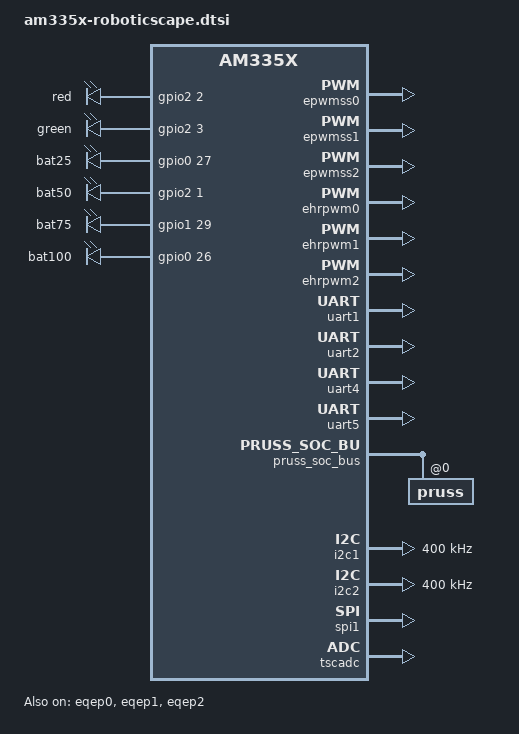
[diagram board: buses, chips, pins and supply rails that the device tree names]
/*
 * @file am335x-roboticscape.dtsi
 *
 * used by:
 * am335x-boneblack-roboticscape.dts
 * am335x-boneblack-wireless-roboticscape.dts
 *
 *
 * @file am335x-boneblack-roboticscape.dtb
 *
 * based on am335x-boneblack.dtb
 *
 * This device tree serves to replace the need for an overlay when using the
 * RoboticsCape. It is similar to the boneblue tree but preserves pin config for
 * the black.
 *
 * This file was updated in April 2018 to support LED driver like in BB Blue
 * This goes in sync with V0.4.0 of the Robotics Cape library
 *
 * @author     James Strawson
 * @date       April 19, 2018
 */



/*******************************************************************************
* Pin Muxing
*******************************************************************************/
&am33xx_pinmux {

/*******************************************************************************
* Static Pinmux
*******************************************************************************/
	mux_helper_pins: pins {
		pinctrl-single,pins = <

			/* GPIO Input Pullup */
			0x09c 0x37	/*P8.9  T6  PAUSE_BTN */
			0x098 0x37	/*P8.10 U6  MODE_BTN  */
			0x1AC 0x37	/*P9.25 A14 IMU_INT   */

			/* Motor Control GPIO Out*/
			0x0cc 0x0F	/*P8.34 MDIR_2B different from blue!!*/
			0x0a8 0x0F	/*P8.43 MDIR_3B*/
			0x0ac 0x0F	/*P8.44 MDIR_3A*/
			0x0a0 0x0F	/*P8.45 MDIR_4A*/
			0x0a4 0x0F	/*P8.46 MDIR_4B*/
			0x078 0x0F	/*P9.12 MDIR_1A different from blue!!*/
			0x074 0x0F	/*P9.13 MDIR_1B*/
			0x040 0x0F	/*P9.15 MDIR_2A*/
			0x1b4 0x0F	/*P9.41 MOT_STBY*/

			/* PRU encoder input */
			0x03c 0x36	/* P8_15,PRU0_r31_15,MODE6 */
			0x038 0x36	/* P8_16,PRU0_r31_16,MODE6 */

			/* PRU Servo output */
			0x0e0 0x05	/*pru1_pru_r30_8, MODE5*/
			0x0e8 0x05	/*pru1_pru_r30_10, MODE5 */
			0x0e4 0x05	/*pr1_pru1_pru_r30_9, MODE5 */
			0x0ec 0x05	/*pru1_pru_r30_11, MODE5 */
			0x0b8 0x05	/*pru1_pru_r30_6, MODE5 */
			0x0bc 0x05	/*pru1_pru_r30_7, MODE5 */
			0x0b0 0x05	/*pru1_pru_r30_4, MODE5 */
			0x0b4 0x05	/*pru1_pru_r30_5, MODE5 */
			0x0C8 0x0F	/*P8.36, SERVO_PWR GPIO OUT*/

			/* I2C1 */
			0x15C 0x32	/* P9.17,i2c1_scl,INPUT_PULLUP,MODE2 */
			0x158 0x32	/* P9.18,i2c1_sda,INPUT_PULLUP,MODE2 */

			/* I2C2 */
			0x17c  0x73 /* P9.19, i2c2_sda, mode 3 */
			0x178  0x73 /* P9.20, i2c2_sda, mode 3 */

			/* UART5 */
			0x0C4 0x34	/* P8.38,uart5_rxd,MODE4 */
			0x0C0 0x14	/* P8.37,uart5_txd,MODE4 */

		>;
	};


	led_pins: pinmux_led_pins {
		pinctrl-single,pins = <
			0x090 (PIN_OUTPUT | MUX_MODE7) /* (R7) gpmc_advn_ale.gpio2[2] - P8.7, LED_RED, GP1_PIN_5 */
			0x094 (PIN_OUTPUT | MUX_MODE7) /* (T7) gpmc_oen_ren.gpio2[3] - P8.8, LED_GREEN, GP1_PIN_6 */
			0x02C (PIN_OUTPUT | MUX_MODE7) /* (U12) gpmc_ad11.gpio0[27] - P8.17, BATT_LED_1 */
			0x08c (PIN_OUTPUT | MUX_MODE7) /* (V12) gpio2.1 - P8.18  BATT_LED_2 diff from BLUE! */
			0x07C (PIN_OUTPUT | MUX_MODE7) /* (V6) gpmc_csn0.gpio1[29] - P8.26, BATT_LED_3 */
			0x028 (PIN_OUTPUT | MUX_MODE7) /* (T11) gpmc_ad10.gpio0[26] - P8.14, BATT_LED_4 */
		>;
	};

};


/*******************************************************************************
* apply static and dynamic pinmux modes listed above. Configurable pins get the
* modes from am335x-boneblack-common-universal-pins.dtsi
*******************************************************************************/
&ocp {
	/* activate the static pinmux helper list of pin modes above */
	test_helper: helper {
		compatible = "bone-pinmux-helper";
		pinctrl-names = "default";
		pinctrl-0 = <&mux_helper_pins>;

		status = "okay";
	};

	/* UART4 RX DSM */
	P9_11_pinmux {
		compatible = "bone-pinmux-helper";
		status = "okay";
		pinctrl-names = "default", "gpio", "gpio_pu", "gpio_pd", "uart";
		pinctrl-0 = <&P9_11_default_pin>;
		pinctrl-1 = <&P9_11_gpio_pin>;
		pinctrl-2 = <&P9_11_gpio_pu_pin>;
		pinctrl-3 = <&P9_11_gpio_pd_pin>;
		pinctrl-4 = <&P9_11_uart_pin>;
	};

	/* UART 2 TX GPS*/
	P9_21_pinmux {
		compatible = "bone-pinmux-helper";
		status = "okay";
		pinctrl-names = "default", "gpio", "gpio_pu", "gpio_pd", "spi", "uart", "i2c", "pwm";
		pinctrl-0 = <&P9_21_default_pin>;
		pinctrl-1 = <&P9_21_gpio_pin>;
		pinctrl-2 = <&P9_21_gpio_pu_pin>;
		pinctrl-3 = <&P9_21_gpio_pd_pin>;
		pinctrl-4 = <&P9_21_spi_pin>;
		pinctrl-5 = <&P9_21_uart_pin>;
		pinctrl-6 = <&P9_21_i2c_pin>;
		pinctrl-7 = <&P9_21_pwm_pin>;
	};

	/* UART 2 RX GPS */
	P9_22_pinmux {
		compatible = "bone-pinmux-helper";
		status = "okay";
		pinctrl-names = "default", "gpio", "gpio_pu", "gpio_pd", "spi", "uart", "i2c", "pwm";
		pinctrl-0 = <&P9_22_default_pin>;
		pinctrl-1 = <&P9_22_gpio_pin>;
		pinctrl-2 = <&P9_22_gpio_pu_pin>;
		pinctrl-3 = <&P9_22_gpio_pd_pin>;
		pinctrl-4 = <&P9_22_spi_pin>;
		pinctrl-5 = <&P9_22_uart_pin>;
		pinctrl-6 = <&P9_22_i2c_pin>;
		pinctrl-7 = <&P9_22_pwm_pin>;
	};

	/* SPI MISO */
	P9_29_pinmux {
		compatible = "bone-pinmux-helper";
		status = "okay";
		pinctrl-names = "default", "gpio", "gpio_pu", "gpio_pd", "pwm", "spi", "pruout", "pruin";
		pinctrl-0 = <&P9_29_default_pin>;
		pinctrl-1 = <&P9_29_gpio_pin>;
		pinctrl-2 = <&P9_29_gpio_pu_pin>;
		pinctrl-3 = <&P9_29_gpio_pd_pin>;
		pinctrl-4 = <&P9_29_pwm_pin>;
		pinctrl-5 = <&P9_29_spi_pin>;
		pinctrl-6 = <&P9_29_pruout_pin>;
		pinctrl-7 = <&P9_29_pruin_pin>;
	};

	/* SPI MOSI */
	P9_30_pinmux {
		compatible = "bone-pinmux-helper";
		status = "okay";
		pinctrl-names = "default", "gpio", "gpio_pu", "gpio_pd", "pwm", "spi", "pruout", "pruin";
		pinctrl-0 = <&P9_30_default_pin>;
		pinctrl-1 = <&P9_30_gpio_pin>;
		pinctrl-2 = <&P9_30_gpio_pu_pin>;
		pinctrl-3 = <&P9_30_gpio_pd_pin>;
		pinctrl-4 = <&P9_30_pwm_pin>;
		pinctrl-5 = <&P9_30_spi_pin>;
		pinctrl-6 = <&P9_30_pruout_pin>;
		pinctrl-7 = <&P9_30_pruin_pin>;
	};

	/* SPI SCK */
	P9_31_pinmux {
		compatible = "bone-pinmux-helper";
		status = "okay";
		pinctrl-names = "default", "gpio", "gpio_pu", "gpio_pd", "pwm", "spi", "pruout", "pruin";
		pinctrl-0 = <&P9_31_default_pin>;
		pinctrl-1 = <&P9_31_gpio_pin>;
		pinctrl-2 = <&P9_31_gpio_pu_pin>;
		pinctrl-3 = <&P9_31_gpio_pd_pin>;
		pinctrl-4 = <&P9_31_pwm_pin>;
		pinctrl-5 = <&P9_31_spi_pin>;
		pinctrl-6 = <&P9_31_pruout_pin>;
		pinctrl-7 = <&P9_31_pruin_pin>;
	};

	/* SPI SS1 GPIO3_17*/
	P9_28_pinmux {
		compatible = "bone-pinmux-helper";
		status = "okay";
		pinctrl-names = "default", "gpio", "gpio_pu", "gpio_pd", "pwm", "spi", "pwm2", "pruout", "pruin";
		pinctrl-0 = <&P9_28_default_pin>;
		pinctrl-1 = <&P9_28_gpio_pin>;
		pinctrl-2 = <&P9_28_gpio_pu_pin>;
		pinctrl-3 = <&P9_28_gpio_pd_pin>;
		pinctrl-4 = <&P9_28_pwm_pin>;
		pinctrl-5 = <&P9_28_spi_pin>;
		pinctrl-6 = <&P9_28_pwm2_pin>;
		pinctrl-7 = <&P9_28_pruout_pin>;
		pinctrl-8 = <&P9_28_pruin_pin>;
	};

	/* SPI SS1  GPIO1_17*/
	P9_23_pinmux {
		compatible = "bone-pinmux-helper";
		status = "okay";
		pinctrl-names = "default", "gpio", "gpio_pu", "gpio_pd", "pwm";
		pinctrl-0 = <&P9_23_default_pin>;
		pinctrl-1 = <&P9_23_gpio_pin>;
		pinctrl-2 = <&P9_23_gpio_pu_pin>;
		pinctrl-3 = <&P9_23_gpio_pd_pin>;
		pinctrl-4 = <&P9_23_pwm_pin>;
	};

	/* UART 1 TX */
	 P9_24_pinmux {
		compatible = "bone-pinmux-helper";
		status = "okay";
		pinctrl-names = "default", "gpio", "gpio_pu", "gpio_pd", "uart", "can", "i2c",  "pruin";
		pinctrl-0 = <&P9_24_default_pin>;
		pinctrl-1 = <&P9_24_gpio_pin>;
		pinctrl-2 = <&P9_24_gpio_pu_pin>;
		pinctrl-3 = <&P9_24_gpio_pd_pin>;
		pinctrl-4 = <&P9_24_uart_pin>;
		pinctrl-5 = <&P9_24_can_pin>;
		pinctrl-6 = <&P9_24_i2c_pin>;
		pinctrl-7 = <&P9_24_pruin_pin>;
	};

	/* UART 1 RX */
	P9_26_pinmux {
		compatible = "bone-pinmux-helper";
		status = "okay";
		pinctrl-names = "default", "gpio", "gpio_pu", "gpio_pd", "uart", "can", "i2c",  "pruin";
		pinctrl-0 = <&P9_26_default_pin>;
		pinctrl-1 = <&P9_26_gpio_pin>;
		pinctrl-2 = <&P9_26_gpio_pu_pin>;
		pinctrl-3 = <&P9_26_gpio_pd_pin>;
		pinctrl-4 = <&P9_26_uart_pin>;
		pinctrl-5 = <&P9_26_can_pin>;
		pinctrl-6 = <&P9_26_i2c_pin>;
		pinctrl-7 = <&P9_26_pruin_pin>;
	};


};


/*******************************************************************************
* PWMSS
*******************************************************************************/
&epwmss0 {
	status = "okay";
};

&epwmss1 {
	status = "okay";
};

&epwmss2 {
	status = "okay";
};

&ehrpwm0 {
	status = "okay";
};

&ehrpwm1 {
	pinctrl-names = "default";
	pinctrl-0 = <&P8_19_pwm_pin &P8_13_pwm_pin>;
	status = "okay";
};

&ehrpwm2 {
	pinctrl-names = "default";
	pinctrl-0 = <&P9_14_pwm_pin &P9_16_pwm_pin>;
	status = "okay";
};

/*******************************************************************************
* EQEP
*******************************************************************************/
&eqep0 {
	pinctrl-names = "default";
	pinctrl-0 = <&P9_92_qep_pin &P9_27_qep_pin>;

	count_mode = <0>;  /* 0 - Quadrature mode, normal 90 phase offset cha & chb.  1 - Direction mode.  cha input = clock, chb input = direction */
	swap_inputs = <0>; /* Are channel A and channel B swapped? (0 - no, 1 - yes) */
	invert_qa = <1>;   /* Should we invert the channel A input?  */
	invert_qb = <1>;   /* Should we invert the channel B input? I invert these because my encoder outputs drive transistors that pull down the pins */
	invert_qi = <0>;   /* Should we invert the index input? */
	invert_qs = <0>;   /* Should we invert the strobe input? */
	status = "okay";
};

&eqep1 {
	pinctrl-names = "default";
	pinctrl-0 = <&P8_33_qep_pin &P8_35_qep_pin>;

	count_mode = <0>;  /* 0 - Quadrature mode, normal 90 phase offset cha & chb.  1 - Direction mode.  cha input = clock, chb input = direction */
	swap_inputs = <0>; /* Are channel A and channel B swapped? (0 - no, 1 - yes) */
	invert_qa = <1>;   /* Should we invert the channel A input?  */
	invert_qb = <1>;   /* Should we invert the channel B input? I invert these because my encoder outputs drive transistors that pull down the pins */
	invert_qi = <0>;   /* Should we invert the index input? */
	invert_qs = <0>;   /* Should we invert the strobe input? */
	status = "okay";
};

&eqep2 {
	pinctrl-names = "default";
	pinctrl-0 = <&P8_12_qep_pin &P8_11_qep_pin>;

	count_mode = <0>;  /* 0 - Quadrature mode, normal 90 phase offset cha & chb.  1 - Direction mode.  cha input = clock, chb input = direction */
	swap_inputs = <0>; /* Are channel A and channel B swapped? (0 - no, 1 - yes) */
	invert_qa = <1>;   /* Should we invert the channel A input?  */
	invert_qb = <1>;   /* Should we invert the channel B input? I invert these because my encoder outputs drive transistors that pull down the pins */
	invert_qi = <0>;   /* Should we invert the index input? */
	invert_qs = <0>;   /* Should we invert the strobe input? */
	status = "okay";
};


/*******************************************************************************
* UART
*******************************************************************************/
&uart1 {
	status = "okay";
};

&uart2 {
	status = "okay";
};

&uart4 {
	status = "okay";
};

&uart5 {
	status = "okay";
};


/*******************************************************************************
* PRU Encoder and Servos
*******************************************************************************/
&pruss_soc_bus {
	status = "okay";

	pruss: pruss@0 {
		status = "okay";
	};
};


/*******************************************************************************
* I2C
*******************************************************************************/
&i2c1 {
	status = "okay";
	clock-frequency = <400000>;
	#address-cells = <1>;
	#size-cells = <0>;
};

&i2c2 {
	status = "okay";
	clock-frequency = <400000>;
	#address-cells = <1>;
	#size-cells = <0>;
};


/*******************************************************************************
* SPI
*******************************************************************************/
&spi1 {
	#address-cells = <1>;
	#size-cells = <0>;
	status = "okay";

	channel@0 {
		#address-cells = <1>;
		#size-cells = <0>;

		compatible = "spidev";

		reg = <0>;
		spi-max-frequency = <16000000>;
		spi-cpha;
	};

	channel@1 {
		#address-cells = <1>;
		#size-cells = <0>;

		compatible = "spidev";

		reg = <1>;
		spi-max-frequency = <16000000>;
	};
};

/*******************************************************************************
* LEDs
*******************************************************************************/
/ {
	leds {
		pinctrl-names = "default";
		pinctrl-0 = <&led_pins>;
		compatible = "gpio-leds";

		red_led {
			label = "red";
			gpios = <&gpio2 2 GPIO_ACTIVE_HIGH>;
			default-state = "off";
		};

		green_led {
			label = "green";
			gpios = <&gpio2 3 GPIO_ACTIVE_HIGH>;
			default-state = "off";
		};

		batt_1_led {
			label = "bat25";
			gpios = <&gpio0 27 GPIO_ACTIVE_HIGH>;
			default-state = "off";
		};

		batt_2_led {
			label = "bat50";
			gpios = <&gpio2 1 GPIO_ACTIVE_HIGH>;
			default-state = "off";
		};

		batt_3_led {
			label = "bat75";
			gpios = <&gpio1 29 GPIO_ACTIVE_HIGH>;
			default-state = "off";
		};

		batt_4_led {
			label = "bat100";
			gpios = <&gpio0 26 GPIO_ACTIVE_HIGH>;
			default-state = "off";
		};
	};

};

&tscadc {
	status = "okay";
	adc {
		ti,adc-channels = <0 1 2 3 4 5 6 7>;
		ti,chan-step-avg = <0x16 0x16 0x16 0x16 0x16 0x16 0x16 0x16>;
		ti,chan-step-opendelay = <0x98 0x98 0x98 0x98 0x98 0x98 0x98 0x98>;
		ti,chan-step-sampledelay = <0x0 0x0 0x0 0x0 0x0 0x0 0x0 0x0>;
	};
};
